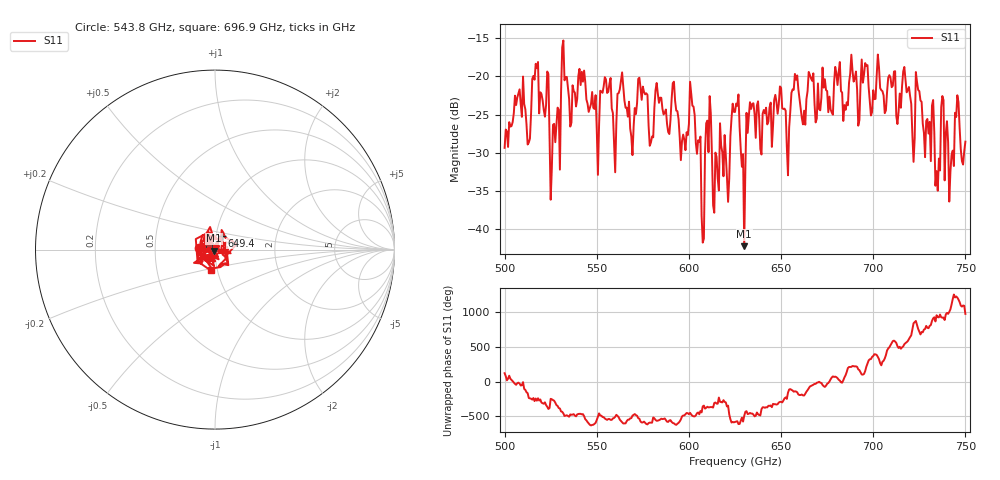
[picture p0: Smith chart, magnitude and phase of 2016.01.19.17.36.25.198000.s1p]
!Created with skrf (http://scikit-rf.org).
# GHz S RI R 50.0
!freq ReS11 ImS11
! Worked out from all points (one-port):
!   401 points, 500 GHz to 750 GHz, reference 50 ohm
!   lowest |S11| = -42.2 dB at 630 GHz (marker M1), VSWR 1.02, Z = 49.4 - j0.517 ohm
!   |S11| at or under -10 dB: start of sweep to end of sweep
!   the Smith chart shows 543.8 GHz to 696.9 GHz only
!   S11 on the Smith chart (normalised r, x): 543.8 GHz: 0.83, +0.01; 649.4 GHz: 1.06, +0.17; 696.9 GHz: 0.93, -0.22
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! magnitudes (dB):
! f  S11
! 500 GHz  -29.4
! 506.9 GHz  -22.8
! 513.1 GHz  -28.7
! 516.9 GHz  -18.4
! 526.2 GHz  -26.3
! 531.2 GHz  -16.2
! 543.8 GHz  -20.7
! 559.4 GHz  -28.7
! 562.5 GHz  -21.7
! 569.4 GHz  -30.3
! 573.8 GHz  -21.5
! 593.8 GHz  -24.6
! 601.9 GHz  -23.8
! 607.5 GHz  -41.7
! 610.6 GHz  -29.9
! 614.4 GHz  -30.0
! 625 GHz  -24.7
! 630 GHz  -42.2
! 633.8 GHz  -24.3
! 649.4 GHz  -21.3
! 653.8 GHz  -32.9
! 656.2 GHz  -21.7
! 687.5 GHz  -19.7
! 696.9 GHz  -18.5
! 718.8 GHz  -21.8
! 735 GHz  -35.0
! 738.1 GHz  -23.1
! 750 GHz  -28.5
